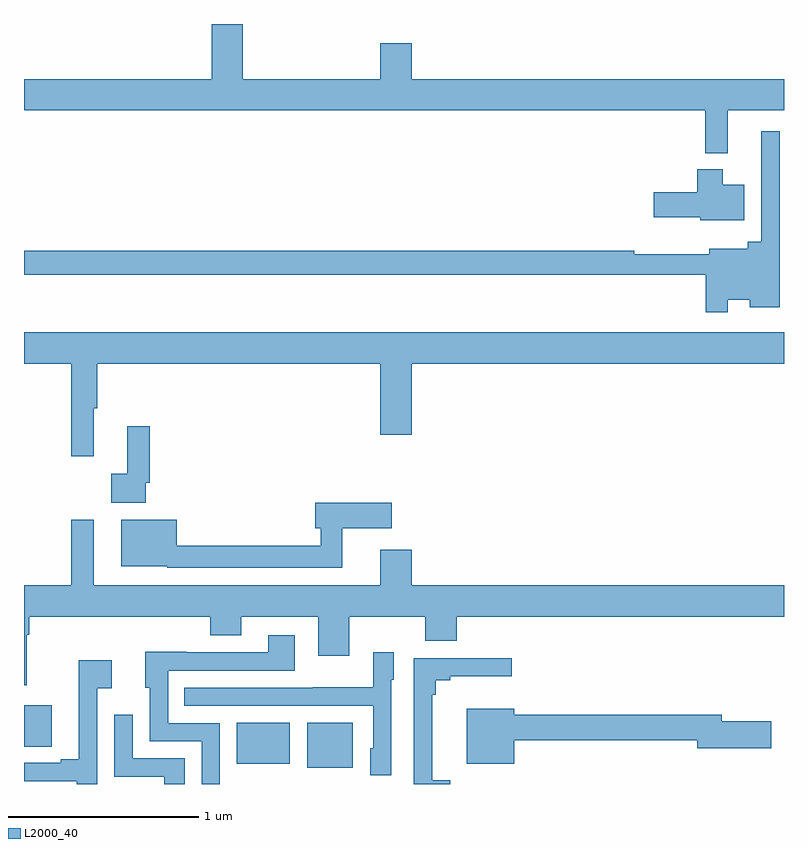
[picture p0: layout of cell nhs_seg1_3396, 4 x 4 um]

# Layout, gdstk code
import gdstk
lib = gdstk.Library(unit=1e-6, precision=1e-09)
def R(c, l, rs):  # rectangles x0, y0, x1, y1
    for r in rs: c.add(gdstk.rectangle(r[:2], r[2:], *l))
def P(c, l, *ps):  # polygons
    for p in ps: c.add(gdstk.Polygon(p, *l))
L2000_40 = (2000, 40)

nhs_seg1_3396 = lib.new_cell('nhs_seg1_3396')
R(nhs_seg1_3396, L2000_40, [(296.492,536.285,296.731,536.521), (296.12,536.306,296.398,536.521), (295,536.395,295.147,536.614)])
P(nhs_seg1_3396, L2000_40, [(298.703,539.744),(299,539.744),(299,539.908),(297.04,539.908),(297.04,540.097),(296.876,540.097),(296.876,539.908),(296.152,539.908),(296.152,540.199),(295.988,540.199),(295.988,539.908),(295,539.908),(295,539.744),(298.585,539.744),(298.585,539.519),(298.703,539.519)],
  [(298.704,538.748),(298.82,538.748),(298.82,538.709),(298.978,538.709),(298.978,539.635),(298.881,539.635),(298.881,539.053),(298.808,539.053),(298.808,539.017),(298.607,539.017),(298.607,538.988),(298.211,538.988),(298.211,539.006),(295,539.006),(295,538.878),(298.588,538.878),(298.588,538.683),(298.704,538.683)],
  [(298.792,539.353),(298.678,539.353),(298.678,539.434),(298.544,539.434),(298.544,539.313),(298.314,539.313),(298.314,539.183),(298.56,539.183),(298.56,539.165),(298.792,539.165)],
  [(295.367,538.176),(295.385,538.176),(295.385,538.412),(296.876,538.412),(296.876,538.038),(297.04,538.038),(297.04,538.412),(299,538.412),(299,538.576),(295,538.576),(295,538.412),(295.249,538.412),(295.249,537.924),(295.367,537.924)],
  [(295.641,537.784),(295.661,537.784),(295.661,538.081),(295.544,538.081),(295.544,537.833),(295.458,537.833),(295.458,537.68),(295.641,537.68)],
  [(296.675,537.545),(296.935,537.545),(296.935,537.68),(296.534,537.68),(296.534,537.545),(296.561,537.545),(296.561,537.452),(295.804,537.452),(295.804,537.589),(295.511,537.589),(295.511,537.344),(295.755,537.344),(295.755,537.336),(296.675,537.336)],
  [(295.015,536.984),(295.028,536.984),(295.028,537.08),(295.979,537.08),(295.979,536.981),(296.143,536.981),(296.143,537.08),(296.549,537.08),(296.549,536.874),(296.713,536.874),(296.713,537.08),(297.113,537.08),(297.113,536.952),(297.277,536.952),(297.277,537.08),(299,537.08),(299,537.244),(297.04,537.244),(297.04,537.433),(296.876,537.433),(296.876,537.244),(295.366,537.244),(295.366,537.589),(295.249,537.589),(295.249,537.244),(295,537.244),(295,536.718),(295.015,536.718)],
  [(296.031,536.52),(295.758,536.52),(295.758,536.796),(296.425,536.796),(296.425,536.983),(296.285,536.983),(296.285,536.892),(295.855,536.892),(295.855,536.894),(295.637,536.894),(295.637,536.706),(295.662,536.706),(295.662,536.424),(295.935,536.424),(295.935,536.199),(296.031,536.199)],
  [(296.934,536.748),(296.947,536.748),(296.947,536.893),(296.838,536.893),(296.838,536.707),(296.521,536.707),(296.521,536.706),(295.843,536.706),(295.843,536.61),(296.838,536.61),(296.838,536.388),(296.822,536.388),(296.822,536.245),(296.934,536.245)],
  [(297.244,536.219),(297.149,536.219),(297.149,536.669),(297.167,536.669),(297.167,536.746),(297.244,536.746),(297.244,536.765),(297.568,536.765),(297.568,536.862),(297.051,536.862),(297.051,536.199),(297.244,536.199)],
  [(295.386,536.702),(295.462,536.702),(295.462,536.851),(295.289,536.851),(295.289,536.329),(295.193,536.329),(295.193,536.31),(295,536.31),(295,536.213),(295.278,536.213),(295.278,536.199),(295.386,536.199)],
  [(297.58,536.428),(298.544,536.428),(298.544,536.386),(298.933,536.386),(298.933,536.528),(298.672,536.528),(298.672,536.564),(297.58,536.564),(297.58,536.596),(297.329,536.596),(297.329,536.306),(297.58,536.306)],
  [(295.845,536.334),(295.572,536.334),(295.572,536.563),(295.476,536.563),(295.476,536.237),(295.738,536.237),(295.738,536.199),(295.845,536.199)])

lib.write_gds('nhs_seg1_3396.gds')
